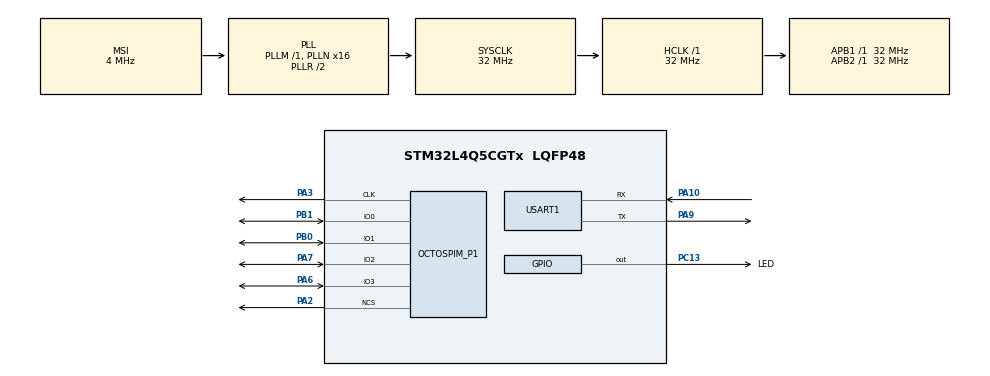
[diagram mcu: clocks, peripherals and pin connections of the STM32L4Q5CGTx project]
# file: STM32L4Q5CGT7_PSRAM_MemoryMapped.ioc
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Mcu.Family=STM32L4
Mcu.Name=STM32L4Q5CGTx
Mcu.Package=LQFP48
NVIC.PriorityGroup=NVIC_PRIORITYGROUP_4
OCTOSPI1.ChipSelectHighTime=4
OCTOSPI1.ClockPrescaler=64
OCTOSPI1.DeviceSize=23
OCTOSPI1.MemoryType=HAL_OSPI_MEMTYPE_APMEMORY
OCTOSPI1.SampleShifting=HAL_OSPI_SAMPLE_SHIFTING_HALFCYCLE
PA10.Mode=Asynchronous
PA10.Signal=USART1_RX
PA13\ (JTMS/SWDIO).Mode=Serial_Wire
PA13\ (JTMS/SWDIO).Signal=SYS_JTMS-SWDIO
PA14\ (JTCK/SWCLK).Mode=Serial_Wire
PA14\ (JTCK/SWCLK).Signal=SYS_JTCK-SWCLK
PA2.Mode=OCTOSPI1_Port1_NCS
PA2.Signal=OCTOSPIM_P1_NCS
PA3.Mode=O1_P1_CLK
PA3.Signal=OCTOSPIM_P1_CLK
PA6.Mode=OCTOSPI1_IOL_Port1L
PA6.Signal=OCTOSPIM_P1_IO3
PA7.Mode=OCTOSPI1_IOL_Port1L
PA7.Signal=OCTOSPIM_P1_IO2
PA9.Mode=Asynchronous
PA9.Signal=USART1_TX
PB0.Mode=OCTOSPI1_IOL_Port1L
PB0.Signal=OCTOSPIM_P1_IO1
PB1.Mode=OCTOSPI1_IOL_Port1L
PB1.Signal=OCTOSPIM_P1_IO0
PC13.GPIO_Label=LED
PC13.Signal=GPIO_Output
PH0-OSC_IN\ (PH0).Mode=HSE-External-Oscillator
PH0-OSC_IN\ (PH0).Signal=RCC_OSC_IN
PH1-OSC_OUT\ (PH1).Mode=HSE-External-Oscillator
PH1-OSC_OUT\ (PH1).Signal=RCC_OSC_OUT
ProjectManager.HeapSize=0x200
ProjectManager.StackSize=0x400
ProjectManager.TargetToolchain=STM32CubeIDE
RCC.AHBFreq_Value=32000000
RCC.APB1Freq_Value=32000000
RCC.APB1TimFreq_Value=32000000
RCC.APB2Freq_Value=32000000
RCC.APB2TimFreq_Value=32000000
RCC.CortexFreq_Value=32000000
RCC.HCLKFreq_Value=32000000
RCC.HSE_VALUE=8000000
RCC.HSI48_VALUE=48000000
RCC.HSI_VALUE=16000000
RCC.LSE_VALUE=32768
RCC.MSI_VALUE=4000000
RCC.PLLN=16
RCC.SYSCLKFreq_VALUE=32000000
RCC.SYSCLKSource=RCC_SYSCLKSOURCE_PLLCLK
RCC.VCOOutputFreq_Value=64000000
USART1.VirtualMode-Asynchronous=VM_ASYNC
VP_OCTOSPI1_VS_quad.Mode=quad_mode
board=custom

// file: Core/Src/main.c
/* USER CODE BEGIN Header */
/**
  ******************************************************************************
  * @file           : main.c
  * @brief          : Main program body
  ******************************************************************************
  * @attention
  *
  * Copyright (c) 2026 STMicroelectronics.
  * All rights reserved.
  *
  * This software is licensed under terms that can be found in the LICENSE file
  * in the root directory of this software component.
  * If no LICENSE file comes with this software, it is provided AS-IS.
  *
  ******************************************************************************
  */
/* USER CODE END Header */
#include "main.h"
#include "octospi.h"
#include "usart.h"
#include "gpio.h"

/* USER CODE BEGIN Includes */
#include <stdlib.h>
#include <stdio.h>
#include <string.h>

/* USER CODE END Includes */

/* USER CODE BEGIN PV */
	uint8_t qspi_id[3];
/* USER CODE END PV */

void SystemClock_Config(void);

int main(void)
{

  /* MCU Configuration--------------------------------------------------------*/

  /* Reset of all peripherals, Initializes the Flash interface and the Systick. */
  HAL_Init();

  /* Configure the system clock */
  SystemClock_Config();

  /* Initialize all configured peripherals */
  MX_GPIO_Init();
  MX_OCTOSPI1_Init();
  MX_USART1_UART_Init();
  /* USER CODE BEGIN 2 */

  PSRAM_Reset();
  HAL_Delay(1);  // >150us power up

  PSRAM_ResetReadID_Print();
  PSRAM_EnterQuadMode();

  volatile uint8_t *psram = (volatile uint8_t *)OCTOSPI1_BASE; // 0x9000_0000 on L4+ :contentReference[oaicite:4]{index=4}

   uint32_t off = 0x000010;
   uint8_t  w   = 0xA5;

  PSRAM_EnableMemMapped_Quad444();

  /* USER CODE END 2 */

  /* Infinite loop */
  while (1)
  {

    /* USER CODE BEGIN 3 */
	   w++;
	        psram[off] = w;
	        uint8_t r = psram[off];

	        char msg[80];
	        int n = sprintf(msg, "MMAP WRITE=0x%02X READ=0x%02X @+0x%06lX\r\n", w, r, off);
	        HAL_UART_Transmit(&huart1, (uint8_t*)msg, n, HAL_MAX_DELAY);
	        HAL_Delay(1000);

  }
  /* USER CODE END 3 */
}

void SystemClock_Config(void)
{
  RCC_OscInitTypeDef RCC_OscInitStruct = {0};
  RCC_ClkInitTypeDef RCC_ClkInitStruct = {0};

  /** Configure the main internal regulator output voltage
  */
  if (HAL_PWREx_ControlVoltageScaling(PWR_REGULATOR_VOLTAGE_SCALE1) != HAL_OK)
  {
    Error_Handler();
  }

  /** Initializes the RCC Oscillators according to the specified parameters
  * in the RCC_OscInitTypeDef structure.
  */
  RCC_OscInitStruct.OscillatorType = RCC_OSCILLATORTYPE_MSI;
  RCC_OscInitStruct.MSIState = RCC_MSI_ON;
  RCC_OscInitStruct.MSICalibrationValue = 0;
  RCC_OscInitStruct.MSIClockRange = RCC_MSIRANGE_6;
  RCC_OscInitStruct.PLL.PLLState = RCC_PLL_ON;
  RCC_OscInitStruct.PLL.PLLSource = RCC_PLLSOURCE_MSI;
  RCC_OscInitStruct.PLL.PLLM = 1;
  RCC_OscInitStruct.PLL.PLLN = 16;
  RCC_OscInitStruct.PLL.PLLP = RCC_PLLP_DIV2;
  RCC_OscInitStruct.PLL.PLLQ = RCC_PLLQ_DIV2;
  RCC_OscInitStruct.PLL.PLLR = RCC_PLLR_DIV2;
  if (HAL_RCC_OscConfig(&RCC_OscInitStruct) != HAL_OK)
  {
    Error_Handler();
  }

  /** Initializes the CPU, AHB and APB buses clocks
  */
  RCC_ClkInitStruct.ClockType = RCC_CLOCKTYPE_HCLK|RCC_CLOCKTYPE_SYSCLK
                              |RCC_CLOCKTYPE_PCLK1|RCC_CLOCKTYPE_PCLK2;
  RCC_ClkInitStruct.SYSCLKSource = RCC_SYSCLKSOURCE_PLLCLK;
  RCC_ClkInitStruct.AHBCLKDivider = RCC_SYSCLK_DIV1;
  RCC_ClkInitStruct.APB1CLKDivider = RCC_HCLK_DIV1;
  RCC_ClkInitStruct.APB2CLKDivider = RCC_HCLK_DIV1;

  if (HAL_RCC_ClockConfig(&RCC_ClkInitStruct, FLASH_LATENCY_1) != HAL_OK)
  {
    Error_Handler();
  }
}

void Error_Handler(void)
{
  __disable_irq();
  while (1)
  {
  }
}
